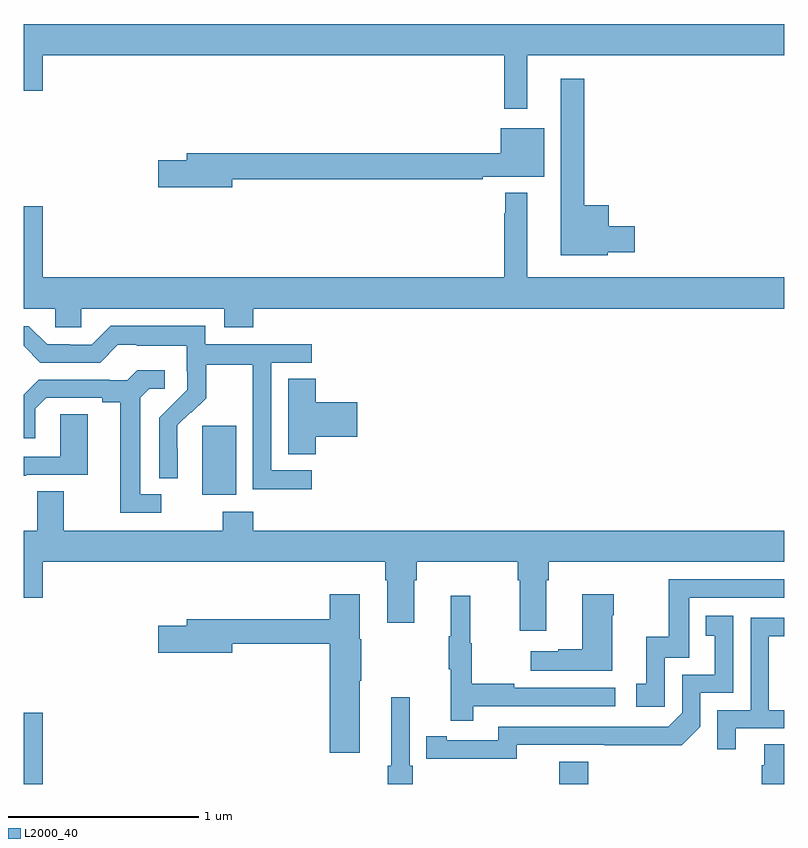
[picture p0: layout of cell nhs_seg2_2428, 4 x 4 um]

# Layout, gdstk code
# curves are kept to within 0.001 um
import gdstk
lib = gdstk.Library(unit=1e-6, precision=1e-09)
def R(c, l, rs):  # rectangles x0, y0, x1, y1
    for r in rs: c.add(gdstk.rectangle(r[:2], r[2:], *l))
def P(c, l, *ps):  # polygons
    for p in ps: c.add(gdstk.Polygon(p, *l))
L2000_40 = (2000, 40)

nhs_seg2_2428 = lib.new_cell('nhs_seg2_2428')
R(nhs_seg2_2428, L2000_40, [(237,647.8,237.1,648.175), (239.816,647.8,239.969,647.917), (237.938,649.322,238.117,649.683)])
P(nhs_seg2_2428, L2000_40, [(239.647,651.632),(241,651.632),(241,651.796),(237,651.796),(237,651.444),(237.1,651.444),(237.1,651.632),(239.526,651.632),(239.526,651.351),(239.647,651.351)],
  [(240.072,650.597),(240.214,650.597),(240.214,650.732),(240.076,650.732),(240.076,650.842),(239.947,650.842),(239.947,651.508),(239.825,651.508),(239.825,650.579),(240.072,650.579)],
  [(238.096,650.98),(239.414,650.98),(239.414,650.993),(239.737,650.993),(239.737,651.247),(239.51,651.247),(239.51,651.116),(237.857,651.116),(237.857,651.08),(237.708,651.08),(237.708,650.938),(238.096,650.938)],
  [(238.208,650.3),(241,650.3),(241,650.464),(239.647,650.464),(239.647,650.908),(239.532,650.908),(239.532,650.801),(239.526,650.801),(239.526,650.464),(237.1,650.464),(237.1,650.839),(237,650.839),(237,650.3),(237.165,650.3),(237.165,650.202),(237.303,650.202),(237.303,650.3),(238.055,650.3),(238.055,650.201),(238.208,650.201)],
  [(238.516,649.449),(238.302,649.449),(238.302,650.016),(238.516,650.016),(238.516,650.112),(237.954,650.112),(237.954,650.209),(237.457,650.209),(237.357,650.109),(237.242,650.109),(237.242,650.112),(237.123,650.112),(237.027,650.208),(237,650.208),(237,650.103),(237.087,650.016),(237.402,650.016),(237.495,650.109),(237.595,650.109),(237.595,650.105),(237.858,650.105),(237.858,649.971),(237.86,649.971),(237.86,649.874),(237.714,649.726),(237.714,649.408),(237.81,649.408),(237.809,649.685),(237.879,649.755),(237.882,649.752),(237.959,649.829),(237.959,650.004),(238.204,650.004),(238.204,649.78),(238.206,649.78),(238.206,649.351),(238.516,649.351)],
  [(237.724,649.323),(237.613,649.323),(237.613,649.831),(237.66,649.878),(237.742,649.878),(237.742,649.975),(237.598,649.975),(237.546,649.923),(237.452,649.923),(237.452,649.926),(237.08,649.926),(237,649.846),(237,649.617),(237.061,649.617),(237.061,649.773),(237.118,649.83),(237.413,649.83),(237.413,649.808),(237.509,649.808),(237.509,649.227),(237.724,649.227)],
  [(238.535,649.625),(238.753,649.625),(238.753,649.808),(238.535,649.808),(238.535,649.931),(238.391,649.931),(238.391,649.534),(238.535,649.534)],
  [(237.013,649.425),(237.337,649.425),(237.337,649.745),(237.192,649.745),(237.192,649.521),(237,649.521),(237,649.421),(237.013,649.421)],
  [(239.749,648.872),(239.762,648.872),(239.762,648.968),(241,648.968),(241,649.132),(238.208,649.132),(238.208,649.231),(238.048,649.231),(238.048,649.132),(237.211,649.132),(237.211,649.34),(237.071,649.34),(237.071,649.132),(237,649.132),(237,648.78),(237.1,648.78),(237.1,648.968),(238.901,648.968),(238.901,648.872),(238.913,648.872),(238.913,648.648),(239.053,648.648),(239.053,648.872),(239.066,648.872),(239.066,648.968),(239.597,648.968),(239.597,648.872),(239.609,648.872),(239.609,648.606),(239.749,648.606)],
  [(240.372,648.465),(240.501,648.465),(240.501,648.78),(241,648.78),(241,648.876),(240.393,648.876),(240.393,648.574),(240.275,648.574),(240.275,648.327),(240.222,648.327),(240.222,648.207),(240.372,648.207)],
  [(240.094,648.686),(240.102,648.686),(240.102,648.799),(239.936,648.799),(239.936,648.509),(239.81,648.509),(239.81,648.499),(239.667,648.499),(239.667,648.395),(240.094,648.395)],
  [(238.768,648.343),(238.776,648.343),(238.776,648.561),(238.768,648.561),(238.768,648.799),(238.61,648.799),(238.61,648.667),(237.857,648.667),(237.857,648.633),(237.708,648.633),(237.708,648.491),(238.096,648.491),(238.096,648.538),(238.61,648.538),(238.61,647.964),(238.768,647.964)],
  [(239.363,648.21),(240.112,648.21),(240.112,648.306),(239.579,648.306),(239.579,648.326),(239.356,648.326),(239.356,648.54),(239.348,648.54),(239.348,648.79),(239.246,648.79),(239.246,648.577),(239.235,648.577),(239.235,648.403),(239.246,648.403),(239.246,648.132),(239.363,648.132)],
  [(239.592,648.006),(240.46,648.005),(240.558,648.102),(240.558,648.279),(240.732,648.279),(240.732,648.685),(240.586,648.685),(240.586,648.579),(240.635,648.579),(240.635,648.375),(240.462,648.375),(240.462,648.174),(240.39,648.102),(239.496,648.102),(239.496,648.03),(239.224,648.03),(239.224,648.05),(239.116,648.05),(239.116,647.934),(239.592,647.933)],
  [(240.745,648.093),(241,648.093),(241,648.189),(240.918,648.189),(240.918,648.578),(241,648.578),(241,648.675),(240.822,648.675),(240.822,648.189),(240.648,648.189),(240.648,647.982),(240.745,647.982)],
  [(241,648.008),(240.893,648.008),(240.893,647.898),(240.881,647.898),(240.881,647.8),(241,647.8)],
  [(239.031,647.896),(239.031,648.256),(238.934,648.256),(238.934,647.896),(238.915,647.896),(238.915,647.8),(239.045,647.8),(239.045,647.896)])

lib.write_gds('nhs_seg2_2428.gds')
